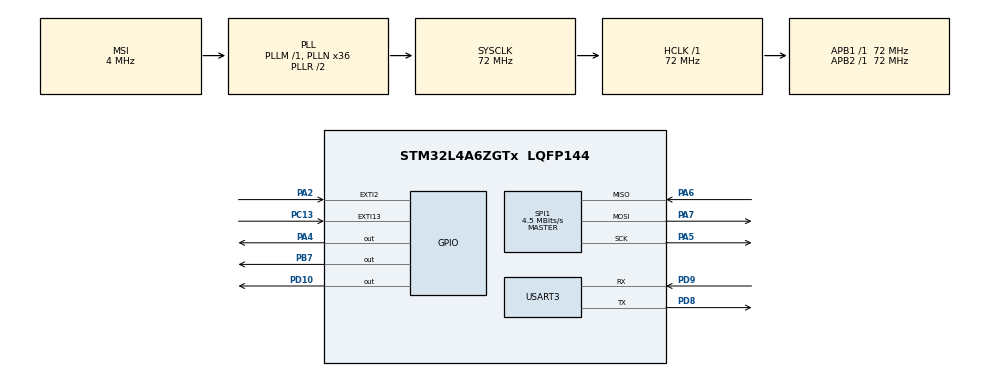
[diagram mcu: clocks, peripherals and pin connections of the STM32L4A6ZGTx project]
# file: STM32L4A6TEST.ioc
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Mcu.Family=STM32L4
Mcu.Name=STM32L4A6ZGTx
Mcu.Package=LQFP144
NVIC.EXTI15_10_IRQn=true\:1\:0\:true\:false\:true\:true\:true
NVIC.EXTI2_IRQn=true\:0\:0\:true\:false\:true\:true\:true
NVIC.PriorityGroup=NVIC_PRIORITYGROUP_4
NVIC.USART3_IRQn=true\:0\:0\:true\:false\:true\:true\:true
PA2.Signal=GPXTI2
PA4.Signal=GPIO_Output
PA5.GPIO_PuPd=GPIO_PULLUP
PA5.Mode=Full_Duplex_Master
PA5.Signal=SPI1_SCK
PA6.GPIO_PuPd=GPIO_PULLUP
PA6.Mode=Full_Duplex_Master
PA6.Signal=SPI1_MISO
PA7.GPIO_PuPd=GPIO_PULLUP
PA7.Mode=Full_Duplex_Master
PA7.Signal=SPI1_MOSI
PB7.Signal=GPIO_Output
PC13.Signal=GPXTI13
PD10.GPIO_PuPd=GPIO_PULLUP
PD10.PinState=GPIO_PIN_SET
PD10.Signal=GPIO_Output
PD8.GPIO_PuPd=GPIO_PULLUP
PD8.Mode=Asynchronous
PD8.Signal=USART3_TX
PD9.GPIO_PuPd=GPIO_PULLUP
PD9.Mode=Asynchronous
PD9.Signal=USART3_RX
ProjectManager.HeapSize=0x200
ProjectManager.StackSize=0x400
ProjectManager.TargetToolchain=STM32CubeIDE
RCC.ADCFreq_Value=16000000
RCC.AHBFreq_Value=72000000
RCC.APB1Freq_Value=72000000
RCC.APB1TimFreq_Value=72000000
RCC.APB2Freq_Value=72000000
RCC.APB2TimFreq_Value=72000000
RCC.CortexFreq_Value=72000000
RCC.HCLKFreq_Value=72000000
RCC.HSE_VALUE=8000000
RCC.HSI48_VALUE=48000000
RCC.HSI_VALUE=16000000
RCC.LSE_VALUE=32768
RCC.MSI_VALUE=4000000
RCC.PLLN=36
RCC.SYSCLKFreq_VALUE=72000000
RCC.SYSCLKSource=RCC_SYSCLKSOURCE_PLLCLK
RCC.USBFreq_Value=16000000
RCC.VCOOutputFreq_Value=144000000
SPI1.BaudRatePrescaler=SPI_BAUDRATEPRESCALER_16
SPI1.CLKPhase=SPI_PHASE_2EDGE
SPI1.CLKPolarity=SPI_POLARITY_HIGH
SPI1.CalculateBaudRate=4.5 MBits/s
SPI1.DataSize=SPI_DATASIZE_8BIT
SPI1.Direction=SPI_DIRECTION_2LINES
SPI1.Mode=SPI_MODE_MASTER
SPI1.VirtualType=VM_MASTER
USART3.VirtualMode-Asynchronous=VM_ASYNC
VP_RTC_VS_RTC_Activate.Mode=RTC_Enabled
board=custom

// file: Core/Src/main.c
/* USER CODE BEGIN Header */
/**
  ******************************************************************************
  * @file           : main.c
  * @brief          : Main program body
  ******************************************************************************
  * @attention
  *
  * <h2><center>&copy; Copyright (c) 2020 STMicroelectronics.
  * All rights reserved.</center></h2>
  *
  * This software component is licensed by ST under BSD 3-Clause license,
  * the "License"; You may not use this file except in compliance with the
  * License. You may obtain a copy of the License at:
  *                        opensource.org/licenses/BSD-3-Clause
  *
  ******************************************************************************
  */
/* USER CODE END Header */

#include "main.h"

/* USER CODE BEGIN Includes */
#include <printf.h>
#include "BLE_USART.h"
/* USER CODE END Includes */

/* USER CODE BEGIN PTD */

//TODO -- Wei Test BLE
USART_BLE USARTBLE;
/* USER CODE END PTD */

RTC_HandleTypeDef hrtc;

SPI_HandleTypeDef hspi1;

UART_HandleTypeDef huart3;

/* USER CODE BEGIN PV */
//TODO--Wayne20200924
PWRST_t PWRST;
USART_LoRa USARTLoRa;

uint8_t dataReady = false;
int16_t sampleCount = 0;

uint8_t data[6]={0,0,0,0,0,0};
int16_t sampleIndex = 0;
uint8_t reg_read[3];
//TODO: FFT set band

//TODO:for signal buffer

fftInstance XfftInstance;
fftInstance YfftInstance;
fftInstance ZfftInstance;

/* USER CODE END PV */

void SystemClock_Config(void);
static void MX_GPIO_Init(void);
static void MX_RTC_Init(void);
static void MX_SPI1_Init(void);
static void MX_USART3_UART_Init(void);
/* USER CODE BEGIN PFP */
//TODO--wayne

/* USER CODE END PFP */

/* USER CODE BEGIN 0 */
//TODO--wayne
/*void ADXL345_Init();

 USART_BLE
void AcquireData();
void FeatureExtraction();*/

/* USER CODE END 0 */

int main(void)
{

  /* MCU Configuration--------------------------------------------------------*/

  /* Reset of all peripherals, Initializes the Flash interface and the Systick. */
  HAL_Init();

  /* Configure the system clock */
  SystemClock_Config();

  /* Initialize all configured peripherals */
  MX_GPIO_Init();
  MX_RTC_Init();
  MX_SPI1_Init();
  MX_USART3_UART_Init();
  /* USER CODE BEGIN 2 */

  //TODO--Wayne20200925
  RUN_PWR_Mode_Init(&hrtc);
  USARTLoRa.Status=WakeUp;
  while(HAL_UART_Receive_IT(&huart3,&USARTLoRa.Rbuffer,1)!=HAL_OK);
  //delay_init(168);
  //delay_init(80);//STM32L4A6 HCLK=80MHz
  delay_init(72);//STM32L4A6 HCLK=16MHz
  ADXL345_Init();
  /*
  setting Device power mode:
  PWRST.PowerMode =
  			 	 ---RunMode
  			 	 ---StandbyMode
  */
  PWRST.PowerMode = RunMode;

  ADXL_test(reg_read);
  /* USER CODE END 2 */

  /* Infinite loop */
  while (1)
  {

    /* USER CODE BEGIN 3 */
	//TODO:ADXL345 Measure
    while(sampleIndex < dataLength/2)
    {
    	ADXL_IntProto();
    	readRegister(DATA0,data,6);
    	if(dataReady == true)
		{
			delay_us(5);
			 AcquireData(&data);

			sampleIndex++;
			dataReady = false;
		}
    }
    FeatureExtraction();
    sampleIndex = 0;

	snprintf_(USARTBLE.buffer, 128 , "%.4f,%.4f", Zstatistic_value.Statistic_FreqOvall,Zstatistic_value.Statistic_SpeedOvall);

	USARTBLE.bufferSize = min_(APP_BUFFER_SIZE, strlen(USARTBLE.buffer));
	//USARTBLE.sendTimeout = 100 ;
	if(HAL_UART_Transmit(&huart3, USARTBLE.buffer, USARTBLE.bufferSize,50)==HAL_OK)
	{
		__NOP();
	}
//	if(PWRST.PowerMode == StandbyMode)
//	{
//    	//TODO:ADXL345 Standby Entry
//    	ADXL_Standby(ON);
//
//    	//TODO:Lora send data
//    	LoRa_USART(&huart3);
//
//    	//TODO:MCU Standby Entry
//    	EnterStandbyPWR_Mode(&hrtc);
//    }
//
//    else
//    {
//    	USARTLoRa.ResStatus = LoRa_OK;
//    	//TODO:Lora send data
//    	LoRa_USART(&huart3);
///*
//    	//test current cost
//    	//TODO:ADXL345 Standby Entry
//    	ADXL_Standby(ON);
//    	delay_s(3);
//    	//ADXL345_Init();
//    	EnterStandbyPWR_Mode(&hrtc);
//*/
//    }

  }
  /* USER CODE END 3 */
}

void SystemClock_Config(void)
{
  RCC_OscInitTypeDef RCC_OscInitStruct = {0};
  RCC_ClkInitTypeDef RCC_ClkInitStruct = {0};
  RCC_PeriphCLKInitTypeDef PeriphClkInit = {0};

  /** Initializes the CPU, AHB and APB busses clocks
  */
  RCC_OscInitStruct.OscillatorType = RCC_OSCILLATORTYPE_LSI|RCC_OSCILLATORTYPE_MSI;
  RCC_OscInitStruct.LSIState = RCC_LSI_ON;
  RCC_OscInitStruct.MSIState = RCC_MSI_ON;
  RCC_OscInitStruct.MSICalibrationValue = 0;
  RCC_OscInitStruct.MSIClockRange = RCC_MSIRANGE_6;
  RCC_OscInitStruct.PLL.PLLState = RCC_PLL_ON;
  RCC_OscInitStruct.PLL.PLLSource = RCC_PLLSOURCE_MSI;
  RCC_OscInitStruct.PLL.PLLM = 1;
  RCC_OscInitStruct.PLL.PLLN = 36;
  RCC_OscInitStruct.PLL.PLLP = RCC_PLLP_DIV2;
  RCC_OscInitStruct.PLL.PLLQ = RCC_PLLQ_DIV2;
  RCC_OscInitStruct.PLL.PLLR = RCC_PLLR_DIV2;
  if (HAL_RCC_OscConfig(&RCC_OscInitStruct) != HAL_OK)
  {
    Error_Handler();
  }
  /** Initializes the CPU, AHB and APB busses clocks
  */
  RCC_ClkInitStruct.ClockType = RCC_CLOCKTYPE_HCLK|RCC_CLOCKTYPE_SYSCLK
                              |RCC_CLOCKTYPE_PCLK1|RCC_CLOCKTYPE_PCLK2;
  RCC_ClkInitStruct.SYSCLKSource = RCC_SYSCLKSOURCE_PLLCLK;
  RCC_ClkInitStruct.AHBCLKDivider = RCC_SYSCLK_DIV1;
  RCC_ClkInitStruct.APB1CLKDivider = RCC_HCLK_DIV1;
  RCC_ClkInitStruct.APB2CLKDivider = RCC_HCLK_DIV1;

  if (HAL_RCC_ClockConfig(&RCC_ClkInitStruct, FLASH_LATENCY_4) != HAL_OK)
  {
    Error_Handler();
  }
  PeriphClkInit.PeriphClockSelection = RCC_PERIPHCLK_RTC|RCC_PERIPHCLK_USART3;
  PeriphClkInit.Usart3ClockSelection = RCC_USART3CLKSOURCE_PCLK1;
  PeriphClkInit.RTCClockSelection = RCC_RTCCLKSOURCE_LSI;
  if (HAL_RCCEx_PeriphCLKConfig(&PeriphClkInit) != HAL_OK)
  {
    Error_Handler();
  }
  /** Configure the main internal regulator output voltage
  */
  if (HAL_PWREx_ControlVoltageScaling(PWR_REGULATOR_VOLTAGE_SCALE1) != HAL_OK)
  {
    Error_Handler();
  }
}

static void MX_RTC_Init(void)
{

  /** Initialize RTC Only
  */
  hrtc.Instance = RTC;
  hrtc.Init.HourFormat = RTC_HOURFORMAT_24;
  hrtc.Init.AsynchPrediv = 127;
  hrtc.Init.SynchPrediv = 255;
  hrtc.Init.OutPut = RTC_OUTPUT_DISABLE;
  hrtc.Init.OutPutRemap = RTC_OUTPUT_REMAP_NONE;
  hrtc.Init.OutPutPolarity = RTC_OUTPUT_POLARITY_HIGH;
  hrtc.Init.OutPutType = RTC_OUTPUT_TYPE_OPENDRAIN;
  if (HAL_RTC_Init(&hrtc) != HAL_OK)
  {
    Error_Handler();
  }

}

static void MX_SPI1_Init(void)
{

  /* SPI1 parameter configuration*/
  hspi1.Instance = SPI1;
  hspi1.Init.Mode = SPI_MODE_MASTER;
  hspi1.Init.Direction = SPI_DIRECTION_2LINES;
  hspi1.Init.DataSize = SPI_DATASIZE_8BIT;
  hspi1.Init.CLKPolarity = SPI_POLARITY_HIGH;
  hspi1.Init.CLKPhase = SPI_PHASE_2EDGE;
  hspi1.Init.NSS = SPI_NSS_SOFT;
  hspi1.Init.BaudRatePrescaler = SPI_BAUDRATEPRESCALER_16;
  hspi1.Init.FirstBit = SPI_FIRSTBIT_MSB;
  hspi1.Init.TIMode = SPI_TIMODE_DISABLE;
  hspi1.Init.CRCCalculation = SPI_CRCCALCULATION_DISABLE;
  hspi1.Init.CRCPolynomial = 7;
  hspi1.Init.CRCLength = SPI_CRC_LENGTH_DATASIZE;
  hspi1.Init.NSSPMode = SPI_NSS_PULSE_DISABLE;
  if (HAL_SPI_Init(&hspi1) != HAL_OK)
  {
    Error_Handler();
  }

}

static void MX_USART3_UART_Init(void)
{

  huart3.Instance = USART3;
  huart3.Init.BaudRate = 115200;
  huart3.Init.WordLength = UART_WORDLENGTH_8B;
  huart3.Init.StopBits = UART_STOPBITS_1;
  huart3.Init.Parity = UART_PARITY_NONE;
  huart3.Init.Mode = UART_MODE_TX_RX;
  huart3.Init.HwFlowCtl = UART_HWCONTROL_NONE;
  huart3.Init.OverSampling = UART_OVERSAMPLING_16;
  huart3.Init.OneBitSampling = UART_ONE_BIT_SAMPLE_DISABLE;
  huart3.AdvancedInit.AdvFeatureInit = UART_ADVFEATURE_NO_INIT;
  if (HAL_UART_Init(&huart3) != HAL_OK)
  {
    Error_Handler();
  }

}

static void MX_GPIO_Init(void)
{
  GPIO_InitTypeDef GPIO_InitStruct = {0};

  /* GPIO Ports Clock Enable */
  __HAL_RCC_GPIOC_CLK_ENABLE();
  __HAL_RCC_GPIOA_CLK_ENABLE();
  __HAL_RCC_GPIOD_CLK_ENABLE();
  __HAL_RCC_GPIOB_CLK_ENABLE();

  /*Configure GPIO pin Output Level */
  HAL_GPIO_WritePin(GPIOA, GPIO_PIN_4, GPIO_PIN_RESET);

  /*Configure GPIO pin Output Level */
  HAL_GPIO_WritePin(GPIOD, GPIO_PIN_10, GPIO_PIN_SET);

  /*Configure GPIO pin Output Level */
  HAL_GPIO_WritePin(GPIOB, GPIO_PIN_7, GPIO_PIN_RESET);

  /*Configure GPIO pin : PC13 */
  GPIO_InitStruct.Pin = GPIO_PIN_13;
  GPIO_InitStruct.Mode = GPIO_MODE_IT_RISING;
  GPIO_InitStruct.Pull = GPIO_NOPULL;
  HAL_GPIO_Init(GPIOC, &GPIO_InitStruct);

  /*Configure GPIO pin : PA2 */
  GPIO_InitStruct.Pin = GPIO_PIN_2;
  GPIO_InitStruct.Mode = GPIO_MODE_IT_RISING;
  GPIO_InitStruct.Pull = GPIO_NOPULL;
  HAL_GPIO_Init(GPIOA, &GPIO_InitStruct);

  /*Configure GPIO pin : PA4 */
  GPIO_InitStruct.Pin = GPIO_PIN_4;
  GPIO_InitStruct.Mode = GPIO_MODE_OUTPUT_PP;
  GPIO_InitStruct.Pull = GPIO_NOPULL;
  GPIO_InitStruct.Speed = GPIO_SPEED_FREQ_LOW;
  HAL_GPIO_Init(GPIOA, &GPIO_InitStruct);

  /*Configure GPIO pin : PD10 */
  GPIO_InitStruct.Pin = GPIO_PIN_10;
  GPIO_InitStruct.Mode = GPIO_MODE_OUTPUT_PP;
  GPIO_InitStruct.Pull = GPIO_PULLUP;
  GPIO_InitStruct.Speed = GPIO_SPEED_FREQ_LOW;
  HAL_GPIO_Init(GPIOD, &GPIO_InitStruct);

  /*Configure GPIO pin : PB7 */
  GPIO_InitStruct.Pin = GPIO_PIN_7;
  GPIO_InitStruct.Mode = GPIO_MODE_OUTPUT_PP;
  GPIO_InitStruct.Pull = GPIO_NOPULL;
  GPIO_InitStruct.Speed = GPIO_SPEED_FREQ_LOW;
  HAL_GPIO_Init(GPIOB, &GPIO_InitStruct);

  /* EXTI interrupt init*/
  HAL_NVIC_SetPriority(EXTI2_IRQn, 0, 0);
  HAL_NVIC_EnableIRQ(EXTI2_IRQn);

  HAL_NVIC_SetPriority(EXTI15_10_IRQn, 1, 0);
  HAL_NVIC_EnableIRQ(EXTI15_10_IRQn);

}

/* USER CODE BEGIN 4 */
//TODO-Wayne0200924
void HAL_GPIO_EXTI_Callback(uint16_t GPIO_Pin)
{
  if(GPIO_Pin == GPIO_PIN_13)//trigger start pin PC13
  {
	  delay_ms(10);
	  if(HAL_GPIO_ReadPin(GPIOC, GPIO_PIN_13)==GPIO_PIN_SET)
	  {
		  if(!PWRST.WLUP_BTstatus )
			  PWRST.WLUP_BTstatus = 1;
	  }
  }
  if(GPIO_Pin == GPIO_PIN_2)//SPI data ready
	{
	  if(HAL_GPIO_ReadPin(GPIOA, GPIO_PIN_2)==GPIO_PIN_SET)
		  dataReady = true;
	  sampleCount++;
	  if(sampleCount > 2048)
	  {
		  sampleCount = 0;
	  }

	}
}

void HAL_UART_RxCpltCallback(UART_HandleTypeDef *huart)
{
  /* Prevent unused argument(s) compilation warning */
  UNUSED(huart3);

  /* NOTE : This function should not be modified, when the callback is needed,
            the HAL_UART_RxCpltCallback can be implemented in the user file
   */

  USARTLoRa.RevStrCount++; //all string receive count
  if(USARTLoRa.Rbuffer==0x0A)//when receive 0x0a("\n" Line feeds string),it is a effective command
  {
	  USARTLoRa.RevStrEndCount++;//0x0a("\n" Line feeds string) count
	  if( USARTLoRa.RevStrEndCount==1	&&	USARTLoRa.RevStrCount > 1)
		  USARTLoRa.ResetRevflag = 1;
  }

  if(!USARTLoRa.ResetRevflag)//if LoRa not reset
  {
  	  USARTLoRa.RevData[USARTLoRa.RxCount++]= USARTLoRa.Rbuffer;
  	  if(USARTLoRa.RevStrEndCount == 2)
  	  {
  		  USARTLoRa.Revflag = 1;
  		  USARTLoRa.RxCount= 0;
  		  USARTLoRa.RevStrEndCount = 0;
  		  USARTLoRa.RevStrCount = 0;
  	  }
    }
    else
    {
    	if(USARTLoRa.RevStrEndCount > 6)
    	{
    		USARTLoRa.RevData[USARTLoRa.RxCount++]= USARTLoRa.Rbuffer;
    		if(USARTLoRa.RevStrEndCount == 9)
    		{
    			USARTLoRa.Revflag = 1;
    			USARTLoRa.RxCount= 0;
    			USARTLoRa.RevStrEndCount = 0;
    			USARTLoRa.RevStrCount = 0;
    		}
    	}

    }

  if(USARTLoRa.RxCount>=64)//if don't receive "\n" Line feeds string full over to 64 byte, clear data
  {
	  USARTLoRa.RxCount=0;
  	  memset( USARTLoRa.RevData, 0, strlen((const char*)USARTLoRa.RevData) ); //clear Receive data
  }
  while(HAL_UART_Receive_IT(&huart3,&USARTLoRa.Rbuffer,1)!=HAL_OK);
}

/* USER CODE END 4 */

void Error_Handler(void)
{
}

/************************ (C) COPYRIGHT STMicroelectronics *****END OF FILE****/
